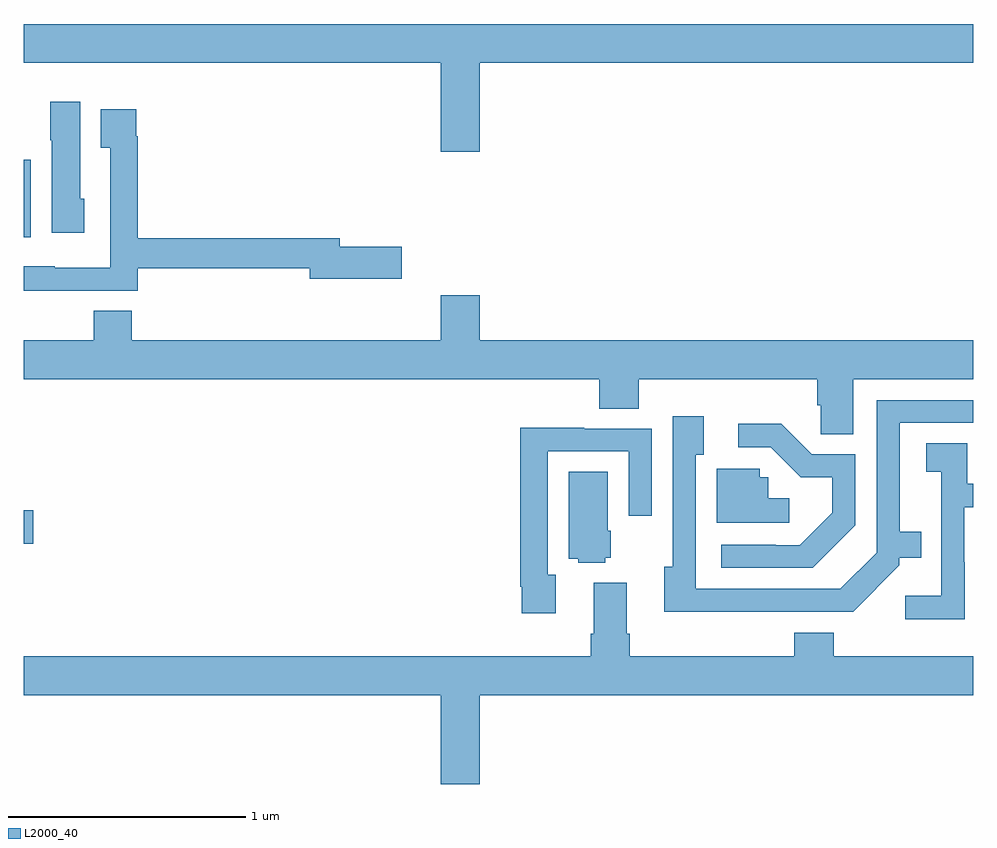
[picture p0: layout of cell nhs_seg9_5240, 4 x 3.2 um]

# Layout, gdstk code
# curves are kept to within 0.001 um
import gdstk
lib = gdstk.Library(unit=1e-6, precision=1e-09)
def R(c, l, rs):  # rectangles x0, y0, x1, y1
    for r in rs: c.add(gdstk.rectangle(r[:2], r[2:], *l))
def P(c, l, *ps):  # polygons
    for p in ps: c.add(gdstk.Polygon(p, *l))
L2000_40 = (2000, 40)

nhs_seg9_5240 = lib.new_cell('nhs_seg9_5240')
R(nhs_seg9_5240, L2000_40, [(415,1199.722,415.039,1199.864), (415,1201.014,415.03,1201.341)])
P(nhs_seg9_5240, L2000_40, [(416.92,1201.748),(419,1201.748),(419,1201.912),(415,1201.912),(415,1201.748),(416.756,1201.748),(416.756,1201.374),(416.92,1201.374)],
  [(415.255,1201.176),(415.237,1201.176),(415.237,1201.585),(415.112,1201.585),(415.112,1201.422),(415.118,1201.422),(415.118,1201.032),(415.255,1201.032)],
  [(415.231,1200.789),(415.481,1200.789),(415.481,1200.882),(416.204,1200.882),(416.204,1200.839),(416.593,1200.839),(416.593,1200.974),(416.332,1200.974),(416.332,1201.01),(415.481,1201.01),(415.481,1201.439),(415.474,1201.439),(415.474,1201.552),(415.325,1201.552),(415.325,1201.391),(415.365,1201.391),(415.365,1200.886),(415.131,1200.886),(415.131,1200.892),(415,1200.892),(415,1200.788),(415.231,1200.788)],
  [(418.495,1200.416),(419,1200.416),(419,1200.58),(416.92,1200.58),(416.92,1200.769),(416.756,1200.769),(416.756,1200.58),(415.454,1200.58),(415.454,1200.704),(415.294,1200.704),(415.294,1200.58),(415,1200.58),(415,1200.416),(417.425,1200.416),(417.425,1200.292),(417.59,1200.292),(417.59,1200.416),(418.343,1200.416),(418.343,1200.306),(418.357,1200.306),(418.357,1200.184),(418.495,1200.184)],
  [(418.163,1199.436),(418.494,1199.436),(418.689,1199.631),(418.689,1199.663),(418.781,1199.663),(418.781,1199.773),(418.69,1199.773),(418.69,1200.231),(419,1200.231),(419,1200.327),(418.593,1200.327),(418.593,1199.685),(418.44,1199.532),(417.831,1199.532),(417.831,1200.098),(417.865,1200.098),(417.865,1200.259),(417.735,1200.259),(417.735,1199.626),(417.698,1199.626),(417.698,1199.435)],
  [(418.503,1199.801),(418.503,1200.099),(418.32,1200.099),(418.192,1200.227),(418.011,1200.227),(418.011,1200.129),(418.146,1200.129),(418.273,1200.002),(418.406,1200.002),(418.406,1199.852),(418.269,1199.715),(418.169,1199.715),(418.169,1199.718),(417.939,1199.718),(417.939,1199.622),(418.324,1199.622)],
  [(417.241,1199.591),(417.207,1199.591),(417.207,1200.111),(417.549,1200.111),(417.549,1199.841),(417.645,1199.841),(417.645,1200.207),(417.361,1200.207),(417.361,1200.211),(417.091,1200.211),(417.091,1199.542),(417.099,1199.542),(417.099,1199.43),(417.241,1199.43)],
  [(418.965,1199.645),(418.962,1199.645),(418.962,1199.877),(419,1199.877),(419,1199.976),(418.975,1199.976),(418.975,1200.146),(418.803,1200.146),(418.803,1200.025),(418.866,1200.025),(418.866,1199.503),(418.713,1199.503),(418.713,1199.405),(418.965,1199.405)],
  [(418.225,1199.914),(418.137,1199.914),(418.137,1200.003),(418.101,1200.003),(418.101,1200.039),(417.92,1200.039),(417.92,1199.811),(418.225,1199.811)],
  [(417.45,1199.664),(417.472,1199.664),(417.472,1199.778),(417.46,1199.778),(417.46,1200.026),(417.296,1200.026),(417.296,1199.66),(417.336,1199.66),(417.336,1199.642),(417.45,1199.642)],
  [(416.92,1199.084),(419,1199.084),(419,1199.248),(418.412,1199.248),(418.412,1199.347),(418.247,1199.347),(418.247,1199.248),(417.554,1199.248),(417.554,1199.344),(417.541,1199.344),(417.541,1199.557),(417.401,1199.557),(417.401,1199.344),(417.389,1199.344),(417.389,1199.248),(415,1199.248),(415,1199.084),(416.756,1199.084),(416.756,1198.71),(416.92,1198.71)])

lib.write_gds('nhs_seg9_5240.gds')
